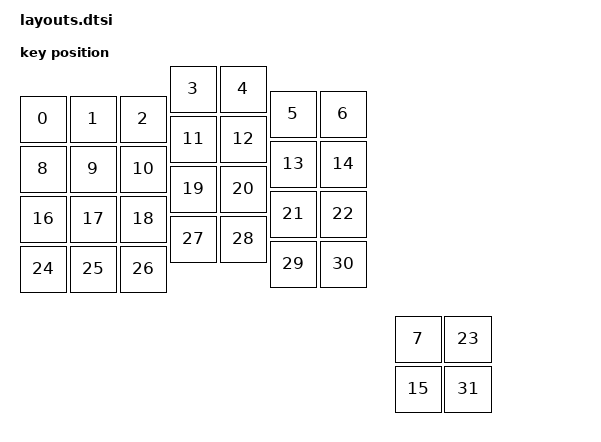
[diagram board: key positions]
/ {
    physical_layout0: physical_layout_0 {
        compatible = "zmk,physical-layout";
        display-name = "Default";

        kscan = <&kscan0>;
        transform = <&matrix_transform0>;

        keys  //                     w   h    x    y     rot    rx    ry
            = <&key_physical_attrs 100 100    0   60       0     0     0>
            , <&key_physical_attrs 100 100  100   60       0     0     0>
            , <&key_physical_attrs 100 100  200   60       0     0     0>
            , <&key_physical_attrs 100 100  300    0       0     0     0>
            , <&key_physical_attrs 100 100  400    0       0     0     0>
            , <&key_physical_attrs 100 100  500   50       0     0     0>
            , <&key_physical_attrs 100 100  600   50       0     0     0>
            , <&key_physical_attrs 100 100  750  500       0     0     0>
            , <&key_physical_attrs 100 100    0  160       0     0     0>
            , <&key_physical_attrs 100 100  100  160       0     0     0>
            , <&key_physical_attrs 100 100  200  160       0     0     0>
            , <&key_physical_attrs 100 100  300  100       0     0     0>
            , <&key_physical_attrs 100 100  400  100       0     0     0>
            , <&key_physical_attrs 100 100  500  150       0     0     0>
            , <&key_physical_attrs 100 100  600  150       0     0     0>
            , <&key_physical_attrs 100 100  750  600       0     0     0>
            , <&key_physical_attrs 100 100    0  260       0     0     0>
            , <&key_physical_attrs 100 100  100  260       0     0     0>
            , <&key_physical_attrs 100 100  200  260       0     0     0>
            , <&key_physical_attrs 100 100  300  200       0     0     0>
            , <&key_physical_attrs 100 100  400  200       0     0     0>
            , <&key_physical_attrs 100 100  500  250       0     0     0>
            , <&key_physical_attrs 100 100  600  250       0     0     0>
            , <&key_physical_attrs 100 100  850  500       0     0     0>
            , <&key_physical_attrs 100 100    0  360       0     0     0>
            , <&key_physical_attrs 100 100  100  360       0     0     0>
            , <&key_physical_attrs 100 100  200  360       0     0     0>
            , <&key_physical_attrs 100 100  300  300       0     0     0>
            , <&key_physical_attrs 100 100  400  300       0     0     0>
            , <&key_physical_attrs 100 100  500  350       0     0     0>
            , <&key_physical_attrs 100 100  600  350       0     0     0>
            , <&key_physical_attrs 100 100  850  600       0     0     0>
            ;
    };

    position_map {
        compatible = "zmk,physical-layout-position-map";

        default {
            physical-layout = <&physical_layout0>;
            positions
                = < 0  1  2  3  4  5  6  7>
                , < 8  9 10 11 12 13 14 15>
                , <16 17 18 19 20 21 22 23>
                , <24 25 26 27 28 29 30 31>
                ;
        };
    };
};
